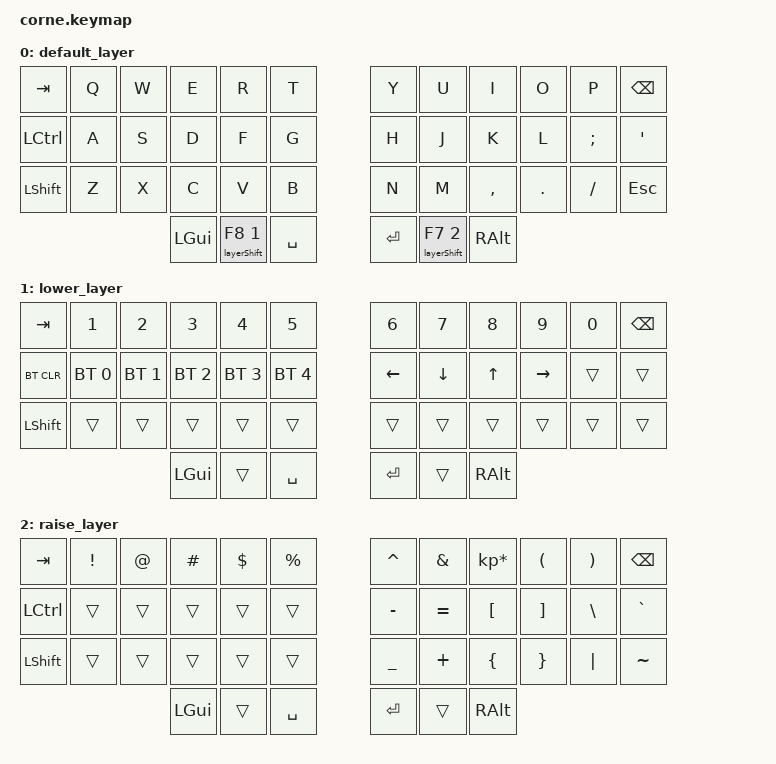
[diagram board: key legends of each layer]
/*
 * Copyright (c) 2020 The ZMK Contributors
 * 
 * SPDX-License-Identifier: MIT
 */

#include <behaviors.dtsi>
#include <dt-bindings/zmk/bt.h>
#include <dt-bindings/zmk/keys.h>

/ {
    macros {
        layerShift: layerShift {
            compatible = "zmk,behavior-macro-two-param";
            #binding-cells = <2>;
            bindings =
                <&macro_param_1to1>,
                <&macro_tap>,
                <&kp MACRO_PLACEHOLDER &macro_param_2to1>,
                <&macro_press>,
                <&mo MACRO_PLACEHOLDER>,
                <&macro_pause_for_release>,
                <&macro_release>,
                <&macro_param_2to1 &mo MACRO_PLACEHOLDER>,
                <&macro_tap>,
                <&kp F9>;

            label = "LAYERSHIFT";
        };

        layerShift2: layerShift2 {
            compatible = "zmk,behavior-macro-one-param";
            #binding-cells = <1>;
            bindings =
                <&macro_tap>,
                <&kp F8 &macro_param_1to1>,
                <&macro_press>,
                <&mo MACRO_PLACEHOLDER>,
                <&macro_pause_for_release>,
                <&macro_release>,
                <&macro_param_1to1 &mo MACRO_PLACEHOLDER>,
                <&macro_tap>,
                <&kp F9>;

            label = "LAYERSHIFT2";
        };
    };

    keymap {
        compatible = "zmk,keymap";

        default_layer {
            // -----------------------------------------------------------------------------------------
            // |  TAB |  Q  |  W  |  E  |  R  |  T  |   |  Y  |  U   |  I  |  O  |  P  | BKSP |
            // | CTRL |  A  |  S  |  D  |  F  |  G  |   |  H  |  J   |  K  |  L  |  ;  |  '   |
            // | SHFT |  Z  |  X  |  C  |  V  |  B  |   |  N  |  M   |  ,  |  .  |  /  | ESC  |
            //                    | GUI | LWR | SPC |   | ENT | RSE  | ALT |

            bindings = <
&kp TAB    &kp Q  &kp W  &kp E     &kp R             &kp T        &kp Y    &kp U             &kp I      &kp O    &kp P     &kp BSPC
&kp LCTRL  &kp A  &kp S  &kp D     &kp F             &kp G        &kp H    &kp J             &kp K      &kp L    &kp SEMI  &kp SQT
&kp LSHFT  &kp Z  &kp X  &kp C     &kp V             &kp B        &kp N    &kp M             &kp COMMA  &kp DOT  &kp FSLH  &kp ESC
                         &kp LGUI  &layerShift F8 1  &kp SPACE    &kp RET  &layerShift F7 2  &kp RALT
            >;
        };

        lower_layer {
            // -----------------------------------------------------------------------------------------
            // |  TAB |  1  |  2  |  3  |  4  |  5  |   |  6  |  7  |  8  |  9  |  0  | BKSP |
            // | BTCLR| BT1 | BT2 | BT3 | BT4 | BT5 |   | LFT | DWN |  UP | RGT |     |      |
            // | SHFT |     |     |     |     |     |   |     |     |     |     |     |      |
            //                    | GUI |     | SPC |   | ENT |     | ALT |

            bindings = <
&kp TAB     &kp N1        &kp N2        &kp N3        &kp N4        &kp N5          &kp N6    &kp N7    &kp N8    &kp N9     &kp N0  &kp BSPC
&bt BT_CLR  &bt BT_SEL 0  &bt BT_SEL 1  &bt BT_SEL 2  &bt BT_SEL 3  &bt BT_SEL 4    &kp LEFT  &kp DOWN  &kp UP    &kp RIGHT  &trans  &trans
&kp LSHFT   &trans        &trans        &trans        &trans        &trans          &trans    &trans    &trans    &trans     &trans  &trans
                                        &kp LGUI      &trans        &kp SPACE       &kp RET   &trans    &kp RALT
            >;
        };

        raise_layer {
            // -----------------------------------------------------------------------------------------
            // |  TAB |  !  |  @  |  #  |  $  |  %  |   |  ^  |  &  |  *  |  (  |  )  | BKSP |
            // | CTRL |     |     |     |     |     |   |  -  |  =  |  [  |  ]  |  \  |  `   |
            // | SHFT |     |     |     |     |     |   |  _  |  +  |  {  |  }  | "|" |  ~   |
            //                    | GUI |     | SPC |   | ENT |     | ALT |

            bindings = <
&kp TAB    &kp EXCL  &kp AT  &kp HASH  &kp DLLR  &kp PRCNT    &kp CARET  &kp AMPS   &kp KP_MULTIPLY  &kp LPAR  &kp RPAR  &kp BSPC
&kp LCTRL  &trans    &trans  &trans    &trans    &trans       &kp MINUS  &kp EQUAL  &kp LBKT         &kp RBKT  &kp BSLH  &kp GRAVE
&kp LSHFT  &trans    &trans  &trans    &trans    &trans       &kp UNDER  &kp PLUS   &kp LBRC         &kp RBRC  &kp PIPE  &kp TILDE
                             &kp LGUI  &trans    &kp SPACE    &kp RET    &trans     &kp RALT
            >;
        };
    };
};
